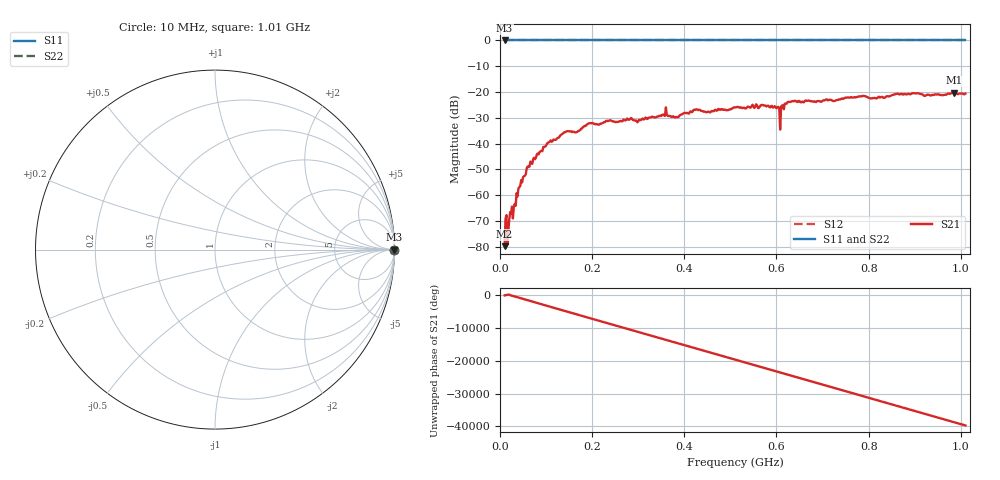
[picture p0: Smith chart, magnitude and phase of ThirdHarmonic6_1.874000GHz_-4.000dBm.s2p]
! 8/16/2025 10:38:43 PM
! C:\ANRITSUVNA\TEMP\TEMP.S2P
! CHANNEL.1
! TR.MEASUREMENT
! RAW.DATA
! RF.CORRECTION.OFF
! AVERAGING.OFF
! IF.BANDWIDTH: 5KHZ
! SWEEPTYPE:  FREQ.SWEEP(Linear)
! Reference Plane Port Info
! PORT:  PORT1  PORT2
! DISTANCE:  0  m  0  m
! TIME:  0  s  0  s
! PHASE.OFFSET:  0  deg.  0  deg.
! LOSS:  0  dB  0  dB
! REF.LOSS:  0  dB  0  dB
! REF.FREQ:  0  Hz  0  Hz
! Power Info
! POWER:  -20  dBm  -20  dBm
! EFF.POWER:  -20  dBm  -20  dBm
! SOURCE.ATTEN:  0  dB  0  dB
! TEST.ATTEN:  0  dB  0  dB
# GHZ S RI R 50.0
! FREQ.GHZ  S11RE  S11IM  S21RE  S21IM  S12RE  S12IM  S22RE  S22IM
!; PortSelection: Port_12
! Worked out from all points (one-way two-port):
!   501 points, 10 MHz to 1.01 GHz, reference 50 ohm
!   highest |S21| = -20.29 dB at 986 MHz (marker M1); lowest = -79.7 dB at 10 MHz (marker M2)
!   lowest |S11| = 0.0 dB at 10 MHz (marker M3)
!   |S11| at or under -10 dB: nowhere
!   |S22| runs from 0.0 to 0.0 dB; largest |S21 - S12| = 1.1
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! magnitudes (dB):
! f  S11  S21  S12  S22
! 10 MHz  0.0  -79.7  0.0  0.0
! 20 MHz  0.0  -69.6  0.0  0.0
! 22 MHz  0.0  -66.5  0.0  0.0
! 32 MHz  0.0  -63.3  0.0  0.0
! 44 MHz  0.0  -56.4  0.0  0.0
! 70 MHz  0.0  -47.8  0.0  0.0
! 106 MHz  0.0  -39.5  0.0  0.0
! 142 MHz  0.0  -35.5  0.0  0.0
! 178 MHz  0.0  -34.0  0.0  0.0
! 196 MHz  0.0  -32.0  0.0  0.0
! 344 MHz  0.0  -29.5  0.0  0.0
! 384 MHz  0.0  -29.7  0.0  0.0
! 424 MHz  0.0  -26.9  0.0  0.0
! 510 MHz  0.0  -25.9  0.0  0.0
! 572 MHz  0.0  -25.2  0.0  0.0
! 602 MHz  0.0  -25.9  0.0  0.0
! 604 MHz  0.0  -25.7  0.0  0.0
! 628 MHz  0.0  -23.9  0.0  0.0
! 678 MHz  0.0  -23.7  0.0  0.0
! 844 MHz  0.0  -21.7  0.0  0.0
! 986 MHz  0.0  -20.3  0.0  0.0
! 1.01 GHz  0.0  -20.6  0.0  0.0
